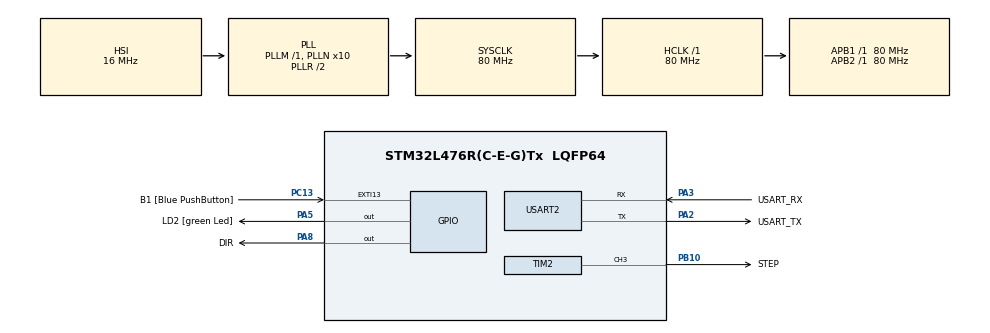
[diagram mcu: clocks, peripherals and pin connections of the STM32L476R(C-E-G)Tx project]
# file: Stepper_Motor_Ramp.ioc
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Mcu.Family=STM32L4
Mcu.Name=STM32L476R(C-E-G)Tx
Mcu.Package=LQFP64
NVIC.PriorityGroup=NVIC_PRIORITYGROUP_4
NVIC.TIM1_UP_TIM16_IRQn=true\:0\:0\:false\:false\:true\:true\:true
NVIC.TIM2_IRQn=true\:0\:0\:false\:false\:true\:true\:true
PA13\ (JTMS-SWDIO).GPIO_Label=TMS
PA13\ (JTMS-SWDIO).Mode=Serial_Wire
PA13\ (JTMS-SWDIO).Signal=SYS_JTMS-SWDIO
PA14\ (JTCK-SWCLK).GPIO_Label=TCK
PA14\ (JTCK-SWCLK).Mode=Serial_Wire
PA14\ (JTCK-SWCLK).Signal=SYS_JTCK-SWCLK
PA2.GPIO_Label=USART_TX
PA2.GPIO_Mode=GPIO_MODE_AF_PP
PA2.GPIO_PuPd=GPIO_NOPULL
PA2.GPIO_Speed=GPIO_SPEED_FREQ_VERY_HIGH
PA2.Mode=Asynchronous
PA2.Signal=USART2_TX
PA3.GPIO_Label=USART_RX
PA3.GPIO_Mode=GPIO_MODE_AF_PP
PA3.GPIO_PuPd=GPIO_NOPULL
PA3.GPIO_Speed=GPIO_SPEED_FREQ_VERY_HIGH
PA3.Mode=Asynchronous
PA3.Signal=USART2_RX
PA5.GPIO_Label=LD2 [green Led]
PA5.GPIO_ModeDefaultOutputPP=GPIO_MODE_OUTPUT_PP
PA5.GPIO_PuPd=GPIO_NOPULL
PA5.GPIO_Speed=GPIO_SPEED_FREQ_LOW
PA5.Signal=GPIO_Output
PA8.GPIO_Label=DIR
PA8.Signal=GPIO_Output
PB10.GPIO_Label=STEP
PB10.Signal=S_TIM2_CH3
PB3\ (JTDO-TRACESWO).GPIO_Label=SWO
PB3\ (JTDO-TRACESWO).Signal=SYS_JTDO-SWO
PC13.GPIO_Label=B1 [Blue PushButton]
PC13.GPIO_ModeDefaultEXTI=GPIO_MODE_IT_FALLING
PC13.GPIO_PuPd=GPIO_NOPULL
PC13.Signal=GPXTI13
PC14-OSC32_IN\ (PC14).Mode=LSE-External-Oscillator
PC14-OSC32_IN\ (PC14).Signal=RCC_OSC32_IN
PC15-OSC32_OUT\ (PC15).Mode=LSE-External-Oscillator
PC15-OSC32_OUT\ (PC15).Signal=RCC_OSC32_OUT
PH0-OSC_IN\ (PH0).Signal=RCC_OSC_IN
PH1-OSC_OUT\ (PH1).Signal=RCC_OSC_OUT
ProjectManager.HeapSize=0x200
ProjectManager.StackSize=0x400
ProjectManager.TargetToolchain=STM32CubeIDE
RCC.ADCFreq_Value=64000000
RCC.AHBFreq_Value=80000000
RCC.APB1Freq_Value=80000000
RCC.APB1TimFreq_Value=80000000
RCC.APB2Freq_Value=80000000
RCC.APB2TimFreq_Value=80000000
RCC.CortexFreq_Value=80000000
RCC.HCLKFreq_Value=80000000
RCC.HSE_VALUE=8000000
RCC.HSI_VALUE=16000000
RCC.MSI_VALUE=4000000
RCC.PLLN=10
RCC.PLLSourceVirtual=RCC_PLLSOURCE_HSI
RCC.PREFETCH_ENABLE=1
RCC.SYSCLKFreq_VALUE=80000000
RCC.SYSCLKSource=RCC_SYSCLKSOURCE_PLLCLK
RCC.USBFreq_Value=64000000
RCC.VCOOutputFreq_Value=160000000
SH.S_TIM2_CH3.0=TIM2_CH3,PWM Generation3 CH3
TIM2.Channel-PWM\ Generation3\ CH3=TIM_CHANNEL_3
TIM2.Period=1000-1
TIM2.Prescaler=80-1
TIM2.Pulse-PWM\ Generation3\ CH3=500
TIM2.TIM_MasterOutputTrigger=TIM_TRGO_OC3REF
TIM2.TIM_MasterSlaveMode=TIM_MASTERSLAVEMODE_ENABLE
USART2.VirtualMode-Asynchronous=VM_ASYNC
VP_TIM1_VS_ClockSourceITR.Mode=TriggerSource_ITR1
VP_TIM1_VS_ControllerModeClock.Mode=Clock Mode
board=NUCLEO-L476RG

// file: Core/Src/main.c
/* USER CODE BEGIN Header */
/**
  ******************************************************************************
  * @file           : main.c
  * @brief          : Main program body
  ******************************************************************************
  * @attention
  *
  * <h2><center>&copy; Copyright (c) 2021 STMicroelectronics.
  * All rights reserved.</center></h2>
  *
  * This software component is licensed by ST under BSD 3-Clause license,
  * the "License"; You may not use this file except in compliance with the
  * License. You may obtain a copy of the License at:
  *                        opensource.org/licenses/BSD-3-Clause
  *
  ******************************************************************************
  */
/* USER CODE END Header */
#include "main.h"
#include "tim.h"
#include "usart.h"
#include "gpio.h"

/* USER CODE BEGIN PD */
#define SET_TABLE_SIZE	5
/* USER CODE END PD */

/* USER CODE BEGIN PV */
struct stepper_s stepper = {0};
/* USER CODE END PV */

void SystemClock_Config(void);

int main(void)
{

  /* MCU Configuration--------------------------------------------------------*/

  /* Reset of all peripherals, Initializes the Flash interface and the Systick. */
  HAL_Init();

  /* Configure the system clock */
  SystemClock_Config();

  /* Initialize all configured peripherals */
  MX_GPIO_Init();
  MX_USART2_UART_Init();
  MX_TIM1_Init();
  MX_TIM2_Init();
  /* USER CODE BEGIN 2 */
  direction dir = CW;

  HAL_Delay(3000);

  stepper_init(&stepper, &htim2, TIM_CHANNEL_3);
  stepper_set_ramp_profile(&stepper, LINEAR_SPEED, 100, 20, 100);
  stepper_set_angle(&stepper, dir, 2*360);
  //stepper_set_continous(&stepper, dir);

  /* USER CODE END 2 */

  /* Infinite loop */
  /* USER CODE BEGIN WHILE */
  while (1)
  {
	  stepper_ramp_process(&stepper);

	  if(HAL_GPIO_ReadPin(B1_GPIO_Port, B1_Pin) == 0)
		  stepper_stop_with_profile(&stepper);
    /* USER CODE END WHILE */

  }
}

void SystemClock_Config(void)
{
  RCC_OscInitTypeDef RCC_OscInitStruct = {0};
  RCC_ClkInitTypeDef RCC_ClkInitStruct = {0};
  RCC_PeriphCLKInitTypeDef PeriphClkInit = {0};

  /** Initializes the RCC Oscillators according to the specified parameters
  * in the RCC_OscInitTypeDef structure.
  */
  RCC_OscInitStruct.OscillatorType = RCC_OSCILLATORTYPE_HSI;
  RCC_OscInitStruct.HSIState = RCC_HSI_ON;
  RCC_OscInitStruct.HSICalibrationValue = RCC_HSICALIBRATION_DEFAULT;
  RCC_OscInitStruct.PLL.PLLState = RCC_PLL_ON;
  RCC_OscInitStruct.PLL.PLLSource = RCC_PLLSOURCE_HSI;
  RCC_OscInitStruct.PLL.PLLM = 1;
  RCC_OscInitStruct.PLL.PLLN = 10;
  RCC_OscInitStruct.PLL.PLLP = RCC_PLLP_DIV7;
  RCC_OscInitStruct.PLL.PLLQ = RCC_PLLQ_DIV2;
  RCC_OscInitStruct.PLL.PLLR = RCC_PLLR_DIV2;
  if (HAL_RCC_OscConfig(&RCC_OscInitStruct) != HAL_OK)
  {
    Error_Handler();
  }
  /** Initializes the CPU, AHB and APB buses clocks
  */
  RCC_ClkInitStruct.ClockType = RCC_CLOCKTYPE_HCLK|RCC_CLOCKTYPE_SYSCLK
                              |RCC_CLOCKTYPE_PCLK1|RCC_CLOCKTYPE_PCLK2;
  RCC_ClkInitStruct.SYSCLKSource = RCC_SYSCLKSOURCE_PLLCLK;
  RCC_ClkInitStruct.AHBCLKDivider = RCC_SYSCLK_DIV1;
  RCC_ClkInitStruct.APB1CLKDivider = RCC_HCLK_DIV1;
  RCC_ClkInitStruct.APB2CLKDivider = RCC_HCLK_DIV1;

  if (HAL_RCC_ClockConfig(&RCC_ClkInitStruct, FLASH_LATENCY_4) != HAL_OK)
  {
    Error_Handler();
  }
  PeriphClkInit.PeriphClockSelection = RCC_PERIPHCLK_USART2;
  PeriphClkInit.Usart2ClockSelection = RCC_USART2CLKSOURCE_PCLK1;
  if (HAL_RCCEx_PeriphCLKConfig(&PeriphClkInit) != HAL_OK)
  {
    Error_Handler();
  }
  /** Configure the main internal regulator output voltage
  */
  if (HAL_PWREx_ControlVoltageScaling(PWR_REGULATOR_VOLTAGE_SCALE1) != HAL_OK)
  {
    Error_Handler();
  }
}

/* USER CODE BEGIN 4 */
void HAL_TIM_PWM_PulseFinishedCallback(TIM_HandleTypeDef *htim)
{
	if(htim->Instance == stepper.timer.htim->Instance)
	{
		stepper.ustep_counter++;

		if(angle == stepper.mode)
		{
			if(stepper.ustep_counter >= stepper.usteps_to_count)
			{
				stepper_set_speed(&stepper, 0);
			}
		}
	}
}
/* USER CODE END 4 */

void Error_Handler(void)
{
  __disable_irq();
  while (1)
  {
  }
}

/************************ (C) COPYRIGHT STMicroelectronics *****END OF FILE****/
